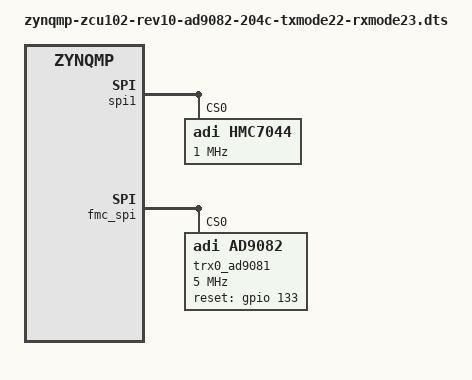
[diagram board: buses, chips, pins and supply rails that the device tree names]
// SPDX-License-Identifier: GPL-2.0
/*
 * Analog Devices AD9082-FMC-EBZ
 * https://wiki.analog.com/resources/eval/user-guides/quadmxfe/quick-start
 * https://wiki.analog.com/resources/tools-software/linux-drivers/iio-mxfe/ad9081
 *
 * hdl_project: <ad9081_fmca_ebz/zcu102>
 * board_revision: <>
 *
 * Copyright (C) 2021 Analog Devices Inc.
 */

// ad9081_204b_txmode_0_rxmode_1: 204C use case with Subclass 0,
// Med. lane rate, using gearbox and PRGOGDIV
//     * 1Txs / 1Rxs per MxFE
//     * DAC_CLK = 11.52GSPS
//     * ADC_CLK = 3.84GSPS
//     * Tx I/Q Rate: 960 MSPS (Interpolation of 12x1)
//     * Rx I/Q Rate: 960 MSPS (Decimation of 4x1)
//     * DAC JESD204B: Mode 22, L=2, M=2, N=N'=12
//     * ADC JESD204B: Mode 23, L=2, M=2, N=N'=12
//     * DAC-Side JESD204B Lane Rate: 11.88Gbps
//     * ADC-Side JESD204B Lane Rate: 11.88Gbps

// HDL Synthesis Parameters:
// JESD_MODE=64B66B \
// RX_RATE=12 \
// RX_PLL_SEL=2 \
// TX_RATE=12 \
// TX_PLL_SEL=2 \
// REF_CLK_RATE=180 \
// RX_JESD_M=2 \
// RX_JESD_L=2 \
// RX_JESD_S=4 \
// RX_JESD_NP=12 \
// TX_JESD_M=2 \
// TX_JESD_L=2 \
// TX_JESD_S=2 \
// TX_JESD_NP=12

#include "zynqmp-zcu102-rev10-ad9081.dts"

&axi_ad9081_rx_jesd {
	clocks = <&zynqmp_clk 71>, <&hmc7044 10>, <&axi_ad9081_adxcvr_rx 1>, <&axi_ad9081_adxcvr_rx 0>;
	clock-names = "s_axi_aclk", "device_clk", "link_clk", "lane_clk";
};

&axi_ad9081_tx_jesd {
	clocks = <&zynqmp_clk 71>, <&hmc7044 6>, <&axi_ad9081_adxcvr_tx 1>, <&axi_ad9081_adxcvr_tx 0>;
	clock-names = "s_axi_aclk", "device_clk", "link_clk", "lane_clk";
};

&axi_ad9081_adxcvr_rx {
	adi,sys-clk-select = <XCVR_QPLL>;
	adi,out-clk-select = <XCVR_PROGDIV_CLK>;
};

&axi_ad9081_adxcvr_tx {
	adi,sys-clk-select = <XCVR_QPLL>;
	adi,out-clk-select = <XCVR_PROGDIV_CLK>;
};

&spi1 {
	status = "okay";

	/delete-node/ hmc7044@0;

	hmc7044: hmc7044@0 {
		#address-cells = <1>;
		#size-cells = <0>;
		#clock-cells = <1>;
		compatible = "adi,hmc7044";
		reg = <0>;
		spi-max-frequency = <1000000>;

		jesd204-device;
		#jesd204-cells = <2>;
		jesd204-sysref-provider;

		adi,jesd204-max-sysref-frequency-hz = <2000000>; /* 2 MHz */

		/*
		 * There are different versions of the AD9081-FMCA-EBZ & AD9082-FMCA-EBZ
		 * VCXO = 122.880 MHz, XO = 122.880MHz (AD9081-FMC-EBZ & AD9082-FMC-EBZ)
		 * VCXO = 100.000 MHz, XO = 100.000MHz (AD9081-FMC-EBZ-A2 & AD9082-FMC-EBZ-A2)
		 * To determine which board is which, read the freqency printed on the VCXO
		 * or use the fru-dump utility:
		 * #fru-dump -b /sys/bus/i2c/devices/15-0050/eeprom
		 */

		//adi,pll1-clkin-frequencies = <122880000 30720000 0 0>;
		//adi,vcxo-frequency = <122880000>;

		adi,pll1-clkin-frequencies = <100000000 10000000 0 0>;
		adi,vcxo-frequency = <100000000>;

		adi,pll1-loop-bandwidth-hz = <200>;

		adi,pll2-output-frequency = <2880000000>;

		adi,sysref-timer-divider = <1024>;
		adi,pulse-generator-mode = <0>;

		adi,clkin0-buffer-mode  = <0x07>;
		adi,clkin1-buffer-mode  = <0x07>;
		adi,oscin-buffer-mode = <0x15>;

		adi,gpi-controls = <0x00 0x00 0x00 0x00>;
		adi,gpo-controls = <0x37 0x33 0x00 0x00>;

		clock-output-names =
			"hmc7044_out0", "hmc7044_out1", "hmc7044_out2",
			"hmc7044_out3", "hmc7044_out4", "hmc7044_out5",
			"hmc7044_out6", "hmc7044_out7", "hmc7044_out8",
			"hmc7044_out9", "hmc7044_out10", "hmc7044_out11",
			"hmc7044_out12", "hmc7044_out13";

		hmc7044_c0: channel@0 {
			reg = <0>;
			adi,extended-name = "CORE_CLK_RX";
			adi,divider = <48>;
			adi,driver-mode = <HMC7044_DRIVER_MODE_LVDS>;

		};
		hmc7044_c2: channel@2 {
			reg = <2>;
			adi,extended-name = "DEV_REFCLK";
			adi,divider = <4>; /* 720 MHz */
			adi,driver-mode = <HMC7044_DRIVER_MODE_LVDS>;
		};

		hmc7044_c3: channel@3 {
			reg = <3>;
			adi,extended-name = "DEV_SYSREF";
			adi,divider = <768>;
			adi,driver-mode = <HMC7044_DRIVER_MODE_LVDS>;
			//adi,jesd204-sysref-chan;
			adi,disable; /* Completely disable channel */
		};

		hmc7044_c6: channel@6 {
			reg = <6>;
			adi,extended-name = "CORE_CLK_TX";
			adi,divider = <24>;
			adi,driver-mode = <HMC7044_DRIVER_MODE_LVDS>;
		};

		hmc7044_c8: channel@8 {
			reg = <8>;
			adi,extended-name = "FPGA_REFCLK1";
			adi,divider = <64>;
			adi,driver-mode = <HMC7044_DRIVER_MODE_LVDS>;
		};

		hmc7044_c10: channel@10 {
			reg = <10>;
			adi,extended-name = "CORE_CLK_RX_ALT";
			adi,divider = <48>;
			adi,driver-mode = <HMC7044_DRIVER_MODE_LVDS>;
		};

		hmc7044_c12: channel@12 {
			reg = <12>;
			adi,extended-name = "FPGA_REFCLK2";
			adi,divider = <8>;
			adi,driver-mode = <HMC7044_DRIVER_MODE_LVDS>;
		};

		hmc7044_c13: channel@13 {
			reg = <13>;
			adi,extended-name = "FPGA_SYSREF";
			adi,divider = <768>;
			adi,driver-mode = <HMC7044_DRIVER_MODE_LVDS>;
			//adi,jesd204-sysref-chan;
			adi,disable; /* Completely disable channel */
		};
	};
};

&fmc_spi {
	/delete-node/ ad9081@0;

	trx0_ad9081: ad9082@0 {
		#address-cells = <1>;
		#size-cells = <0>;
		compatible = "adi,ad9082";
		reg = <0>;
		spi-max-frequency = <5000000>;

		reset-gpios = <&gpio 133 0>;

		/* Clocks */
		clocks = <&hmc7044 2>;
		clock-names = "dev_clk";

		clock-output-names = "rx_sampl_clk", "tx_sampl_clk";
		#clock-cells = <1>;

		jesd204-device;
		#jesd204-cells = <2>;
		jesd204-top-device = <0>; /* This is the TOP device */
		jesd204-link-ids = <FRAMER_LINK0_RX DEFRAMER_LINK0_TX>;

		jesd204-inputs =
			<&axi_ad9081_core_rx 0 FRAMER_LINK0_RX>,
			<&axi_ad9081_core_tx 0 DEFRAMER_LINK0_TX>;

		adi,continuous-sysref-mode-disable;

		adi,tx-dacs {
			#size-cells = <0>;
			#address-cells = <1>;

			adi,dac-frequency-hz = /bits/ 64 <11520000000>;

			adi,main-data-paths {
				#address-cells = <1>;
				#size-cells = <0>;

				adi,interpolation = <12>;

				ad9081_dac0: dac@0 {
					reg = <0>;
					adi,crossbar-select = <&ad9081_tx_fddc_chan0>;
					adi,nco-frequency-shift-hz = /bits/ 64 <1000000000>; /* 1000 MHz */
				};
			};

			adi,channelizer-paths {
				#address-cells = <1>;
				#size-cells = <0>;
				adi,interpolation = <1>;

				ad9081_tx_fddc_chan0: channel@0 {
					reg = <0>;
					adi,gain = <2048>; /* 2048 * 10^(gain_dB/20) */
					adi,nco-frequency-shift-hz =  /bits/ 64 <0>;

				};
			};

			adi,jesd-links {
				#size-cells = <0>;
				#address-cells = <1>;

				ad9081_tx_jesd_l0: link@0 {
					#address-cells = <1>;
					#size-cells = <0>;
					reg = <0>;

					adi,logical-lane-mapping = /bits/ 8 <0 2 7 7 1 7 7 3>;

					adi,link-mode = <22>;			/* JESD Quick Configuration Mode */
					adi,subclass = <0>;			/* JESD SUBCLASS 0,1,2 */
					adi,version = <2>;			/* JESD VERSION 0=204A,1=204B,2=204C */
					adi,dual-link = <0>;			/* JESD Dual Link Mode */

					adi,converters-per-device = <2>;	/* JESD M */
					adi,octets-per-frame = <3>;		/* JESD F */

					adi,frames-per-multiframe = <256>;	/* JESD K */
					adi,converter-resolution = <12>;	/* JESD N */
					adi,bits-per-sample = <12>;		/* JESD NP' */
					adi,control-bits-per-sample = <0>;	/* JESD CS */
					adi,lanes-per-device = <2>;		/* JESD L */
					adi,samples-per-converter-per-frame = <2>; /* JESD S */
					adi,high-density = <0>;			/* JESD HD */
				};
			};
		};

		adi,rx-adcs {
			#size-cells = <0>;
			#address-cells = <1>;

			adi,adc-frequency-hz = /bits/ 64 <3840000000>;

			adi,main-data-paths {
				#address-cells = <1>;
				#size-cells = <0>;

				ad9081_adc0: adc@0 {
					reg = <0>;
					adi,decimation = <4>;
					adi,nco-frequency-shift-hz =  /bits/ 64 <400000000>;
					adi,nco-mixer-mode = <AD9081_ADC_NCO_VIF>;
				};
			};

			adi,channelizer-paths {
				#address-cells = <1>;
				#size-cells = <0>;

				ad9081_rx_fddc_chan0: channel@0 {
					reg = <0>;
					adi,decimation = <1>;
					adi,gain = <2048>; /* 2048 * 10^(gain_dB/20) */
					adi,nco-frequency-shift-hz =  /bits/ 64 <0>;

				};
			};

			adi,jesd-links {
				#size-cells = <0>;
				#address-cells = <1>;

				ad9081_rx_jesd_l0: link@0 {
					reg = <0>;
					adi,converter-select =
						<&ad9081_rx_fddc_chan0 FDDC_I>, <&ad9081_rx_fddc_chan0 FDDC_Q>;

					adi,logical-lane-mapping = /bits/ 8 <2 0 7 7 7 7 3 1>;

					adi,link-mode = <23>;			/* JESD Quick Configuration Mode */
					adi,subclass = <0>;			/* JESD SUBCLASS 0,1,2 */
					adi,version = <2>;			/* JESD VERSION 0=204A,1=204B,2=204C */
					adi,dual-link = <0>;			/* JESD Dual Link Mode */

					adi,converters-per-device = <2>;	/* JESD M */
					adi,octets-per-frame = <6>;		/* JESD F */

					adi,frames-per-multiframe = <128>;	/* JESD K */
					adi,converter-resolution = <12>;	/* JESD N */
					adi,bits-per-sample = <12>;		/* JESD NP' */
					adi,control-bits-per-sample = <0>;	/* JESD CS */
					adi,lanes-per-device = <2>;		/* JESD L */
					adi,samples-per-converter-per-frame = <4>; /* JESD S */
					adi,high-density = <0>;			/* JESD HD */
				};
			};
		};
	};
};

&axi_ad9081_core_tx {
	single-shot-output-gpios = <&gpio 139 0>;
};
